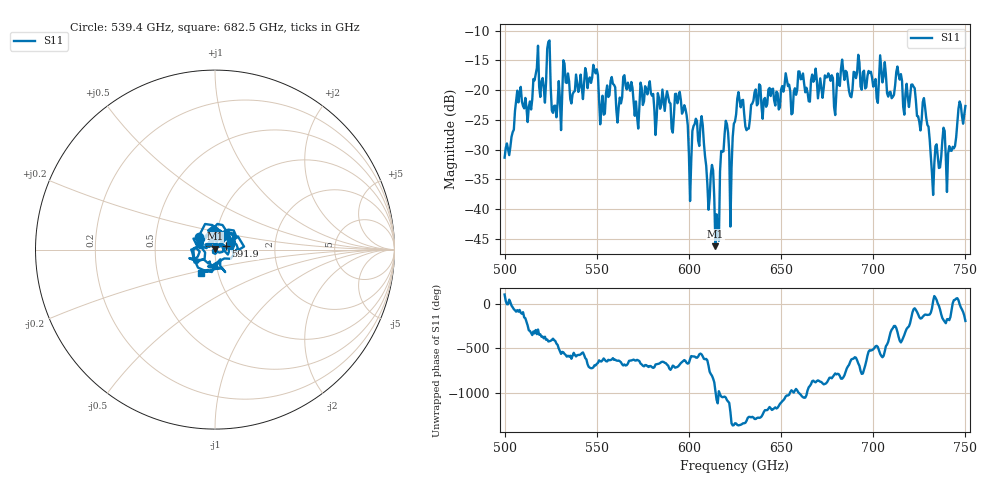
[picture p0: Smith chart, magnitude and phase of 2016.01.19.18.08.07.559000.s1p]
!Created with skrf (http://scikit-rf.org).
# GHz S RI R 50.0
!freq ReS11 ImS11
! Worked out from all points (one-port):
!   401 points, 500 GHz to 750 GHz, reference 50 ohm
!   lowest |S11| = -46.2 dB at 614.4 GHz (marker M1), VSWR 1.01, Z = 49.9 + j0.477 ohm
!   |S11| at or under -10 dB: start of sweep to end of sweep
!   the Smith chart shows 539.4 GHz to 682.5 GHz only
!   S11 on the Smith chart (normalised r, x): 539.4 GHz: 0.82, +0.12; 591.9 GHz: 1.12, +0.04; 682.5 GHz: 0.83, -0.22
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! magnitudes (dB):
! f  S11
! 500 GHz  -31.4
! 516.9 GHz  -17.3
! 520.6 GHz  -18.0
! 523.8 GHz  -11.9
! 526.9 GHz  -22.7
! 531.2 GHz  -20.6
! 539.4 GHz  -18.8
! 562.5 GHz  -21.3
! 565.6 GHz  -19.2
! 571.9 GHz  -24.5
! 577.5 GHz  -20.7
! 591.9 GHz  -24.1
! 593.8 GHz  -22.2
! 600.6 GHz  -38.7
! 607.5 GHz  -25.9
! 614.4 GHz  -46.2
! 615.6 GHz  -43.6
! 618.8 GHz  -30.3
! 623.1 GHz  -33.1
! 625 GHz  -25.3
! 656.2 GHz  -23.9
! 682.5 GHz  -16.5
! 687.5 GHz  -21.0
! 705 GHz  -18.7
! 718.8 GHz  -21.2
! 728.1 GHz  -22.9
! 732.5 GHz  -37.6
! 750 GHz  -22.7
